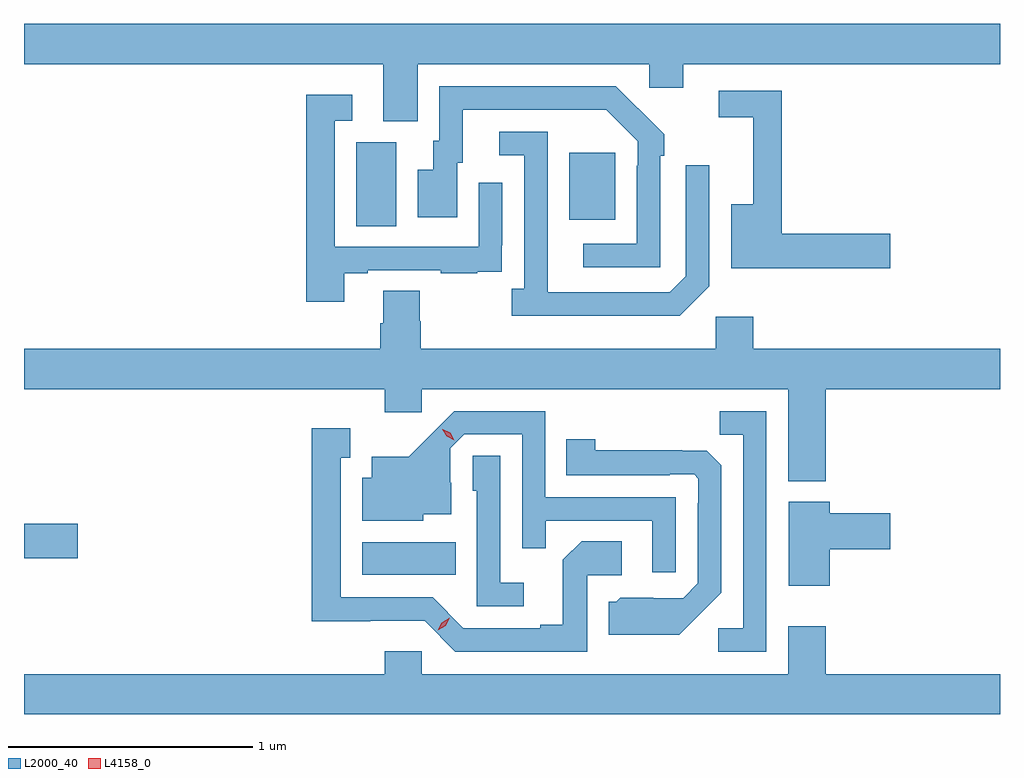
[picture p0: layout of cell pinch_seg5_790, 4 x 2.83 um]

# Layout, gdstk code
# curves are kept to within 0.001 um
import gdstk
lib = gdstk.Library(unit=1e-6, precision=1e-09)
def R(c, l, rs):  # rectangles x0, y0, x1, y1
    for r in rs: c.add(gdstk.rectangle(r[:2], r[2:], *l))
def P(c, l, *ps):  # polygons
    for p in ps: c.add(gdstk.Polygon(p, *l))
L2000_40 = (2000, 40)
L4158_0 = (4158, 0)

pinch_seg5_790 = lib.new_cell('pinch_seg5_790')
R(pinch_seg5_790, L2000_40, [(782.726,907.946,783.11,908.08), (781.34,908.014,781.561,908.156), (782.702,909.376,782.866,909.72), (783.575,909.401,783.763,909.676)])
P(pinch_seg5_790, L2000_40, [(782.953,910.04),(783.903,910.04),(783.903,909.942),(784.042,909.942),(784.042,910.04),(785.34,910.04),(785.34,910.204),(781.34,910.204),(781.34,910.04),(782.813,910.04),(782.813,909.805),(782.953,909.805)],
  [(783.948,909.665),(783.963,909.665),(783.963,909.753),(783.766,909.948),(783.042,909.948),(783.042,909.726),(783.017,909.726),(783.017,909.607),(782.954,909.607),(782.954,909.411),(783.115,909.411),(783.115,909.636),(783.139,909.636),(783.139,909.852),(783.727,909.852),(783.855,909.723),(783.855,909.623),(783.852,909.623),(783.852,909.303),(783.633,909.303),(783.633,909.207),(783.948,909.207)],
  [(784.891,909.344),(784.445,909.344),(784.445,909.93),(784.188,909.93),(784.188,909.822),(784.328,909.822),(784.328,909.466),(784.238,909.466),(784.238,909.202),(784.891,909.202)],
  [(782.653,909.183),(782.749,909.183),(782.749,909.195),(783.049,909.195),(783.049,909.183),(783.197,909.183),(783.197,909.189),(783.299,909.189),(783.299,909.298),(783.3,909.298),(783.3,909.553),(783.204,909.553),(783.204,909.291),(782.613,909.291),(782.613,909.807),(782.686,909.807),(782.686,909.913),(782.497,909.913),(782.497,909.066),(782.653,909.066)],
  [(784.149,909.129),(784.149,909.625),(784.053,909.625),(784.053,909.171),(783.987,909.105),(783.487,909.105),(783.486,909.762),(783.288,909.762),(783.288,909.666),(783.39,909.666),(783.39,909.118),(783.339,909.118),(783.339,909.008),(784.028,909.008)],
  [(784.625,908.708),(785.34,908.708),(785.34,908.872),(784.328,908.872),(784.328,909.004),(784.176,909.004),(784.176,908.872),(782.966,908.872),(782.966,908.985),(782.961,908.985),(782.961,909.11),(782.813,909.11),(782.813,908.978),(782.801,908.978),(782.801,908.872),(781.34,908.872),(781.34,908.708),(782.819,908.708),(782.819,908.613),(782.97,908.613),(782.97,908.708),(784.472,908.708),(784.472,908.33),(784.625,908.33)],
  [(784.011,908.265),(783.477,908.265),(783.477,908.616),(783.104,908.616),(782.917,908.431),(782.765,908.431),(782.765,908.344),(782.726,908.344),(782.726,908.168),(782.976,908.168),(782.976,908.195),(783.091,908.195),(783.091,908.324),(783.087,908.324),(783.087,908.466),(783.144,908.523),(783.381,908.523),(783.381,908.056),(783.479,908.056),(783.479,908.169),(783.915,908.169),(783.915,907.956),(784.011,907.956)],
  [(784.383,908.616),(784.192,908.616),(784.192,908.521),(784.287,908.521),(784.287,907.728),(784.185,907.728),(784.185,907.632),(784.383,907.632)],
  [(783.648,907.944),(783.79,907.944),(783.79,908.084),(783.625,908.084),(783.549,908.008),(783.549,907.741),(783.455,907.741),(783.455,907.728),(783.141,907.728),(783.015,907.854),(782.638,907.854),(782.638,908.427),(782.677,908.427),(782.677,908.548),(782.52,908.548),(782.52,907.757),(782.982,907.758),(783.108,907.632),(783.648,907.632)],
  [(784.105,907.781),(784.197,907.874),(784.197,908.396),(784.138,908.455),(783.681,908.456),(783.681,908.503),(783.562,908.503),(783.562,908.355),(783.986,908.355),(783.986,908.358),(784.086,908.358),(784.104,908.34),(784.104,908.24),(784.101,908.24),(784.101,907.911),(784.041,907.851),(783.784,907.852),(783.768,907.836),(783.737,907.836),(783.737,907.7),(784.025,907.7)],
  [(783.388,907.915),(783.291,907.915),(783.291,908.435),(783.18,908.435),(783.18,908.292),(783.195,908.292),(783.195,907.818),(783.388,907.818)],
  [(784.642,908.051),(784.891,908.051),(784.891,908.198),(784.642,908.198),(784.642,908.245),(784.475,908.245),(784.475,907.902),(784.642,907.902)],
  [(785.34,907.54),(784.625,907.54),(784.625,907.735),(784.472,907.735),(784.472,907.54),(782.97,907.54),(782.97,907.633),(782.819,907.633),(782.819,907.54),(781.34,907.54),(781.34,907.376),(785.34,907.376)])
P(pinch_seg5_790, L4158_0, [(783.103,908.499),(783.072,908.514),(783.055,908.544),(783.055,908.544),(783.056,908.544),(783.086,908.528),(783.103,908.499),(783.103,908.499)],
  [(783.036,907.719),(783.036,907.719),(783.053,907.751),(783.085,907.77),(783.085,907.77),(783.085,907.77),(783.068,907.738),(783.036,907.719)])

lib.write_gds('pinch_seg5_790.gds')
